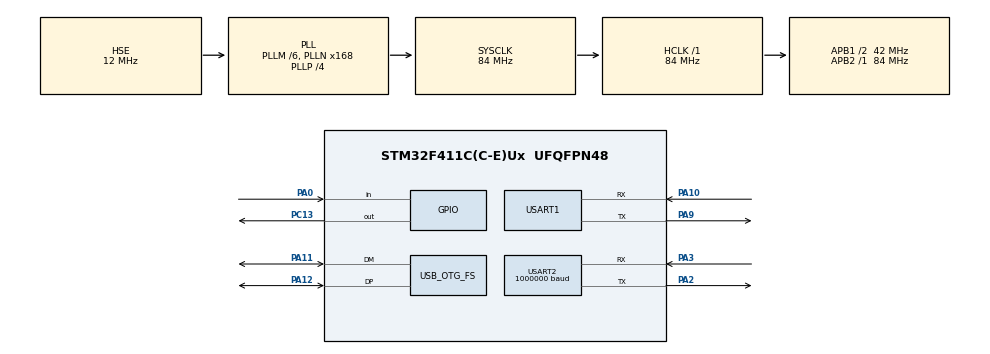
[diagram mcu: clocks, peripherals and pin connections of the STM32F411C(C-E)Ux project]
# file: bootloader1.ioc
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Dma.Request0=USART2_RX
Dma.USART2_RX.0.Direction=DMA_PERIPH_TO_MEMORY
Dma.USART2_RX.0.FIFOMode=DMA_FIFOMODE_DISABLE
Dma.USART2_RX.0.Instance=DMA1_Stream5
Dma.USART2_RX.0.MemDataAlignment=DMA_MDATAALIGN_BYTE
Dma.USART2_RX.0.MemInc=DMA_MINC_ENABLE
Dma.USART2_RX.0.Mode=DMA_CIRCULAR
Dma.USART2_RX.0.PeriphDataAlignment=DMA_PDATAALIGN_BYTE
Dma.USART2_RX.0.PeriphInc=DMA_PINC_DISABLE
Dma.USART2_RX.0.Priority=DMA_PRIORITY_MEDIUM
Mcu.Family=STM32F4
Mcu.Name=STM32F411C(C-E)Ux
Mcu.Package=UFQFPN48
NVIC.DMA1_Stream5_IRQn=true\:5\:0\:false\:false\:true\:true\:false\:true\:true
NVIC.OTG_FS_IRQn=true\:0\:0\:false\:false\:true\:false\:true\:true
NVIC.PriorityGroup=NVIC_PRIORITYGROUP_4
NVIC.USART1_IRQn=true\:0\:0\:false\:false\:true\:true\:true\:true
NVIC.USART2_IRQn=true\:0\:0\:false\:false\:true\:true\:true\:true
PA0-WKUP.Signal=GPIO_Input
PA10.Mode=Asynchronous
PA10.Signal=USART1_RX
PA11.Mode=Device_Only
PA11.Signal=USB_OTG_FS_DM
PA12.Mode=Device_Only
PA12.Signal=USB_OTG_FS_DP
PA13.Mode=Serial_Wire
PA13.Signal=SYS_JTMS-SWDIO
PA14.Mode=Serial_Wire
PA14.Signal=SYS_JTCK-SWCLK
PA2.Mode=Asynchronous
PA2.Signal=USART2_TX
PA3.Mode=Asynchronous
PA3.Signal=USART2_RX
PA9.Mode=Asynchronous
PA9.Signal=USART1_TX
PC13-ANTI_TAMP.Signal=GPIO_Output
PH0\ -\ OSC_IN.Mode=HSE-External-Oscillator
PH0\ -\ OSC_IN.Signal=RCC_OSC_IN
PH1\ -\ OSC_OUT.Mode=HSE-External-Oscillator
PH1\ -\ OSC_OUT.Signal=RCC_OSC_OUT
ProjectManager.HeapSize=0x200
ProjectManager.StackSize=0x400
ProjectManager.TargetToolchain=STM32CubeIDE
RCC.48MHZClocksFreq_Value=48000000
RCC.AHBFreq_Value=84000000
RCC.APB1CLKDivider=RCC_HCLK_DIV2
RCC.APB1Freq_Value=42000000
RCC.APB1TimFreq_Value=84000000
RCC.APB2Freq_Value=84000000
RCC.APB2TimFreq_Value=84000000
RCC.CortexFreq_Value=84000000
RCC.HCLKFreq_Value=84000000
RCC.HSE_VALUE=12000000
RCC.HSI_VALUE=16000000
RCC.LSE_VALUE=32768
RCC.PLLM=6
RCC.PLLN=168
RCC.PLLP=RCC_PLLP_DIV4
RCC.PLLQ=7
RCC.RCC_RTC_Clock_SourceVirtual=RCC_RTCCLKSOURCE_HSE_DIV12
RCC.RCC_RTC_Clock_Source_FROM_HSE=RCC_RTCCLKSOURCE_HSE_DIV12
RCC.SYSCLKFreq_VALUE=84000000
RCC.SYSCLKSource=RCC_SYSCLKSOURCE_PLLCLK
RCC.VCOOutputFreq_Value=336000000
RTC.AsynchPrediv=124
USART1.VirtualMode=VM_ASYNC
USART2.BaudRate=1000000
USART2.VirtualMode=VM_ASYNC
USB_DEVICE.CLASS_NAME_FS=DFU
USB_DEVICE.VirtualMode=Dfu
USB_DEVICE.VirtualModeFS=Dfu_FS
USB_OTG_FS.VirtualMode=Device_Only
VP_RTC_VS_RTC_Activate.Mode=RTC_Enabled
VP_USB_DEVICE_VS_USB_DEVICE_DFU_FS.Mode=DFU_FS
board=custom

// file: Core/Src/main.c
/* USER CODE BEGIN Header */
/**
  ******************************************************************************
  * @file           : main.c
  * @brief          : Main program body
  ******************************************************************************
  * @attention
  *
  * Copyright (c) 2025 STMicroelectronics.
  * All rights reserved.
  *
  * This software is licensed under terms that can be found in the LICENSE file
  * in the root directory of this software component.
  * If no LICENSE file comes with this software, it is provided AS-IS.
  *
  ******************************************************************************
  */
/* USER CODE END Header */
#include "main.h"
#include "rtc.h"
#include "usart.h"
#include "usb_device.h"
#include "gpio.h"

/* USER CODE BEGIN Includes */
#include "bootloader.h"
#include "network_core.h"
#include "network_cmd.h"
#include "sys_logger_bl.h"
#include "dma.h"
/* USER CODE END Includes */

/* USER CODE BEGIN PTD */
#define OBJECT_CODE LOG_OBJECT_CODE_BOOTLOADER
/* USER CODE END PTD */

/* USER CODE BEGIN PV */
static network_core_t  s_net_core;
static uint8_t         s_net_rx_buf[512];
/* USER CODE END PV */

void SystemClock_Config(void);

/* USER CODE BEGIN 0 */
static void bl_led_tick(void)
{
    HAL_GPIO_TogglePin(GPIOC, GPIO_PIN_13);
}

//static void bl_log_stub_task(void)
//{
//  static uint32_t s_last_log_ms = 0u;
//  uint32_t now = HAL_GetTick();
//
//  if ((now - s_last_log_ms) >= 500u) {
//    s_last_log_ms = now;
//    (void)sys_logger_write_record(INFO_LOG,
//                    OBJECT_CODE,
//                    "BL stub log tick=%lu",
//                    (unsigned long)now);
//  }
//}
/* USER CODE END 0 */

int main(void)
{

  /* MCU Configuration--------------------------------------------------------*/

  /* Reset of all peripherals, Initializes the Flash interface and the Systick. */
  HAL_Init();

  /* Configure the system clock */
  SystemClock_Config();

  /* Initialize all configured peripherals */
  MX_GPIO_Init();
  MX_DMA_Init();
  MX_USB_DEVICE_Init();
  MX_USART1_UART_Init();
  MX_USART2_UART_Init();
  MX_RTC_Init();
  /* USER CODE BEGIN 2 */

  /* Check if app requested DFU mode via magic flag */
  bool force_dfu = bl_should_enter_dfu();

  /* Logger must be initialized before any RLOG/sys_logger_write_record usage. */
  sys_logger_init();
  RLOG_D(OBJECT_CODE, "=================================================");
  RLOG_D(OBJECT_CODE, "=               BOOTLOADER STARTED              =");
  RLOG_D(OBJECT_CODE, "=================================================");
  /* Initialize protocol stack */
  serial_init();
  network_core_init(&s_net_core, protobuf_PACKET_ADDR_MCU, s_net_rx_buf, sizeof(s_net_rx_buf));
  network_cmd_init(&s_net_core);
  bl_fota_init(&s_net_core);

  uint32_t t0 = HAL_GetTick();
  uint32_t t_last_blink = t0;
  uint32_t current_timeout = force_dfu ? BL_DFU_EXTENDED_TIMEOUT_MS : BL_DFU_TIMEOUT_MS;
  bool activity_detected = false;

  RLOG_I(OBJECT_CODE, "BL: Bootup window open (%lu ms)", (unsigned long)current_timeout);

  while (1)
  {
    uint32_t now = HAL_GetTick();
    /* Inject periodic logs so network_cmd has data to send in BL mode. */
    // bl_log_stub_task();

    /* Process stacks */
    bl_fota_process();

    /* 1. Detect Activity */
    bool ble_active = bl_fota_is_active();
    bool usb_active = (g_dfu_last_activity != 0);

    if (ble_active || usb_active) {
      if (!activity_detected) {
        RLOG_I(OBJECT_CODE, "BL: Activity detected! Switching to Active mode.");
      }
      activity_detected = true;
    }

    /* 2. LED Signaling Logic */
    uint32_t blink_interval = 500;

    if (activity_detected) {
      blink_interval = 100;
    } else if ((now - t0) >= current_timeout) {
      blink_interval = 5000;
    }

    if ((now - t_last_blink) >= blink_interval) {
      bl_led_tick();
      t_last_blink = now;
    }

    /* 3. Exit/Jump Logic */

    /* Case A: FOTA transfer completed successfully */
    if (bl_fota_is_finished()) {
      RLOG_I(OBJECT_CODE, "BL: FOTA finished, jumping to app...");
      HAL_Delay(500);
      bl_jump_to_app();
    }

    /* Case B: Initial timeout reached with NO activity */
    if (!activity_detected && (now - t0 >= current_timeout)) {
      if (bl_app_vector_valid()) {
        RLOG_I(OBJECT_CODE, "BL: Timeout, jumping to app...");
        bl_jump_to_app();
      }
      /* If we are here, app is invalid. Loop continues in IDLE mode (slow blink). */
      RLOG_I(OBJECT_CODE, "BL: No valid app found, staying in bootloader.");
    }

    /* Case C: Active USB DFU mode - allow manual exit via USER button */
    if (activity_detected && !ble_active) {
      if (HAL_GPIO_ReadPin(GPIOA, GPIO_PIN_0) == GPIO_PIN_RESET) {
        HAL_Delay(50);
        if (HAL_GPIO_ReadPin(GPIOA, GPIO_PIN_0) == GPIO_PIN_RESET) {
          if (bl_app_vector_valid()) {
            RLOG_I(OBJECT_CODE, "BL: User requested exit, jumping to app...");
            bl_jump_to_app();
          }
        }
      }
    }
  }
  /* USER CODE END 2 */

  /* Infinite loop */
  while (1)
  {

  }
}

void SystemClock_Config(void)
{
  RCC_OscInitTypeDef RCC_OscInitStruct = {0};
  RCC_ClkInitTypeDef RCC_ClkInitStruct = {0};

  /** Configure the main internal regulator output voltage
  */
  __HAL_RCC_PWR_CLK_ENABLE();
  __HAL_PWR_VOLTAGESCALING_CONFIG(PWR_REGULATOR_VOLTAGE_SCALE1);

  /** Initializes the RCC Oscillators according to the specified parameters
  * in the RCC_OscInitTypeDef structure.
  */
  RCC_OscInitStruct.OscillatorType = RCC_OSCILLATORTYPE_HSE;
  RCC_OscInitStruct.HSEState = RCC_HSE_ON;
  RCC_OscInitStruct.PLL.PLLState = RCC_PLL_ON;
  RCC_OscInitStruct.PLL.PLLSource = RCC_PLLSOURCE_HSE;
  RCC_OscInitStruct.PLL.PLLM = 6;
  RCC_OscInitStruct.PLL.PLLN = 168;
  RCC_OscInitStruct.PLL.PLLP = RCC_PLLP_DIV4;
  RCC_OscInitStruct.PLL.PLLQ = 7;
  if (HAL_RCC_OscConfig(&RCC_OscInitStruct) != HAL_OK)
  {
    Error_Handler();
  }

  /** Initializes the CPU, AHB and APB buses clocks
  */
  RCC_ClkInitStruct.ClockType = RCC_CLOCKTYPE_HCLK|RCC_CLOCKTYPE_SYSCLK
                              |RCC_CLOCKTYPE_PCLK1|RCC_CLOCKTYPE_PCLK2;
  RCC_ClkInitStruct.SYSCLKSource = RCC_SYSCLKSOURCE_PLLCLK;
  RCC_ClkInitStruct.AHBCLKDivider = RCC_SYSCLK_DIV1;
  RCC_ClkInitStruct.APB1CLKDivider = RCC_HCLK_DIV2;
  RCC_ClkInitStruct.APB2CLKDivider = RCC_HCLK_DIV1;

  if (HAL_RCC_ClockConfig(&RCC_ClkInitStruct, FLASH_LATENCY_2) != HAL_OK)
  {
    Error_Handler();
  }
}

void Error_Handler(void)
{
  __disable_irq();
  while (1)
  {
  }
}
